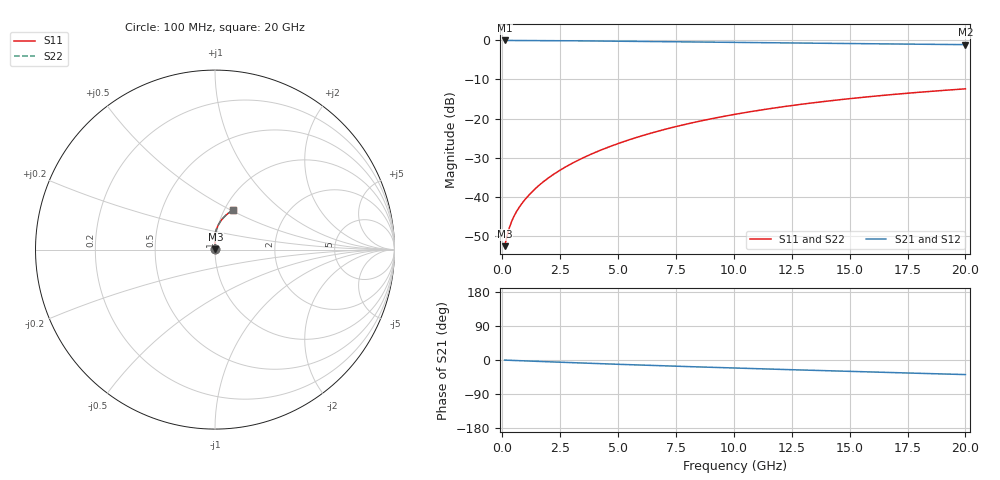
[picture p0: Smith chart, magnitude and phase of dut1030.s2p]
! Touchstone file exported from HFSS 2024.1.0
!  File:  C:/UserFiles/LocalFiles/RDL_TSV_Batchsim/temp_RDL_bottom_1030_1780051084.aedt
!  Generated:  06:40:28 PM May 29, 2026
!  Design:  RDL_bottom
!  Project:  temp_RDL_bottom_1030_1780051084
!  Setup:  Setup1
!  Solution:  Sweep
! Variables:
!  dtsv = 10.80580581um
!  hbump = 3um
!  htsv = 66.19um
!  ldown = 651.75um
!  lrdl = 100um
!  p = 40
!  p1 = 40.58um
!  rhole = 1um
!  t = 450um
!  tdown = 4.96um
!  trdl = 3.915915916um
!  wdown = 25.92um
!  wrdl = 20um
# GHz S MA R 50.000000
! Terminal data exported
! Port[1] = RDL1_T1
! Port[2] = RDL1_T2
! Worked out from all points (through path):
!   200 points, 100 MHz to 20 GHz, reference 50 ohm
!   highest |S21| = -0.02 dB at 100 MHz (marker M1); lowest = -1.1 dB at 20 GHz (marker M2)
!   group delay of S21, straight-line fit = 5.26 ps
!   lowest |S11| = -52.6 dB at 100 MHz (marker M3), VSWR 1.00, Z = 50.2 + j0.115 ohm
!   |S11| at or under -10 dB: start of sweep to end of sweep
!   |S22| runs from -52.6 to -12.4 dB; largest |S21 - S12| = 4.1e-15
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0.1  0.002336 29.2  0.9979 -0.3  0.9979 -0.3  0.002336 29.2
! Gamma 0 0 0 0
! Port Impedance 50 0 50 0
0.2  0.003118 45.1  0.9977 -0.5  0.9977 -0.5  0.003118 45.1
0.3  0.003979 53.0  0.9975 -0.7  0.9975 -0.7  0.003978 53.0
0.4  0.00481 57.6  0.9972 -1.0  0.9972 -1.0  0.004808 57.6
0.5  0.0056 61.0  0.997 -1.2  0.997 -1.2  0.005598 61.0
0.6  0.006362 63.8  0.9968 -1.4  0.9968 -1.4  0.00636 63.8
0.8  0.007859 68.3  0.9965 -1.9  0.9965 -1.9  0.007855 68.3
1.1  0.01013 73.5  0.9958 -2.6  0.9958 -2.6  0.01013 73.5
1.6  0.01412 79.5  0.9945 -3.8  0.9945 -3.8  0.01411 79.5
2.1  0.01836 83.5  0.9927 -4.9  0.9927 -4.9  0.01836 83.5
2.7  0.02379 86.7  0.99 -6.3  0.99 -6.3  0.02379 86.7
3.5  0.03159 89.3  0.9858 -8.1  0.9858 -8.1  0.0316 89.4
4.2  0.03895 90.7  0.9816 -9.6  0.9816 -9.6  0.03896 90.7
5  0.04792 91.4  0.9764 -11.3  0.9764 -11.3  0.04793 91.4
5.9  0.05866 91.4  0.9703 -13.2  0.9703 -13.2  0.05867 91.4
6.8  0.06996 90.8  0.9641 -15.0  0.9641 -15.0  0.06998 90.8
8.4  0.09102 88.8  0.953 -18.1  0.953 -18.1  0.09104 88.8
10.1  0.1141 85.9  0.9415 -21.3  0.9415 -21.3  0.1142 85.9
11.7  0.136 82.7  0.9311 -24.2  0.9311 -24.2  0.136 82.7
13.4  0.1589 79.2  0.9205 -27.2  0.9205 -27.2  0.1589 79.2
16.7  0.2013 72.3  0.9009 -32.9  0.9009 -32.9  0.2013 72.3
20  0.2401 65.7  0.8823 -38.5  0.8823 -38.5  0.2401 65.7
